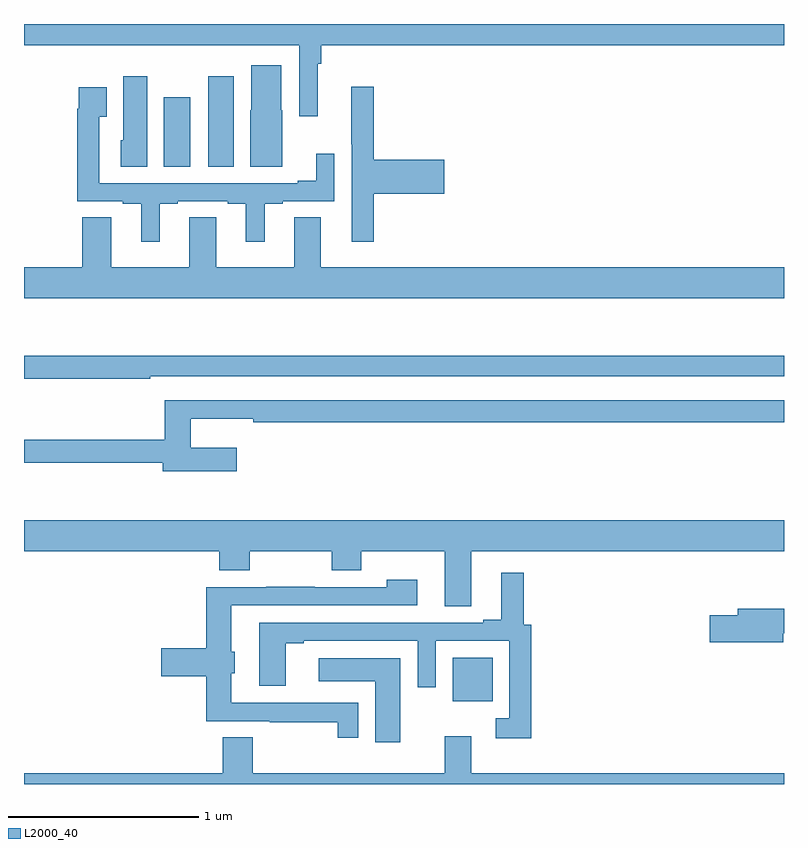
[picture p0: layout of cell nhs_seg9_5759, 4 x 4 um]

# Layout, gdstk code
import gdstk
lib = gdstk.Library(unit=1e-6, precision=1e-09)
def R(c, l, rs):  # rectangles x0, y0, x1, y1
    for r in rs: c.add(gdstk.rectangle(r[:2], r[2:], *l))
def P(c, l, *ps):  # polygons
    for p in ps: c.add(gdstk.Polygon(p, *l))
L2000_40 = (2000, 40)

nhs_seg9_5759 = lib.new_cell('nhs_seg9_5759')
R(nhs_seg9_5759, L2000_40, [(447.257,1224.935,447.466,1225.165), (445.736,1227.748,445.876,1228.114), (445.97,1227.748,446.104,1228.225)])
P(nhs_seg9_5759, L2000_40, [(446.546,1228.292),(446.564,1228.292),(446.564,1228.388),(449,1228.388),(449,1228.5),(445,1228.5),(445,1228.388),(446.448,1228.388),(446.448,1228.014),(446.546,1228.014)],
  [(446.359,1228.047),(446.353,1228.047),(446.353,1228.282),(446.195,1228.282),(446.195,1228.047),(446.192,1228.047),(446.192,1227.748),(446.359,1227.748)],
  [(445.648,1228.225),(445.523,1228.225),(445.523,1227.888),(445.508,1227.888),(445.508,1227.748),(445.648,1227.748)],
  [(446.84,1227.607),(447.211,1227.607),(447.211,1227.785),(446.84,1227.785),(446.84,1228.171),(446.723,1228.171),(446.723,1227.868),(446.724,1227.868),(446.724,1227.354),(446.84,1227.354)],
  [(445.714,1227.555),(445.81,1227.555),(445.81,1227.567),(446.072,1227.567),(446.072,1227.555),(446.168,1227.555),(446.168,1227.354),(446.266,1227.354),(446.266,1227.555),(446.362,1227.555),(446.362,1227.567),(446.634,1227.567),(446.634,1227.817),(446.537,1227.817),(446.537,1227.676),(446.441,1227.676),(446.441,1227.663),(445.395,1227.663),(445.395,1228.012),(445.435,1228.012),(445.435,1228.168),(445.287,1228.168),(445.287,1228.055),(445.279,1228.055),(445.279,1227.567),(445.52,1227.567),(445.52,1227.555),(445.616,1227.555),(445.616,1227.354),(445.714,1227.354)],
  [(449,1227.22),(446.563,1227.22),(446.563,1227.482),(446.423,1227.482),(446.423,1227.22),(446.011,1227.22),(446.011,1227.482),(445.871,1227.482),(445.871,1227.22),(445.459,1227.22),(445.459,1227.482),(445.307,1227.482),(445.307,1227.22),(445,1227.22),(445,1227.056),(449,1227.056)],
  [(445.664,1226.646),(449,1226.646),(449,1226.755),(445,1226.755),(445,1226.634),(445.664,1226.634)],
  [(446.119,1226.269),(445.877,1226.269),(445.877,1226.423),(446.206,1226.423),(446.206,1226.404),(449,1226.404),(449,1226.52),(445.741,1226.52),(445.741,1226.311),(445,1226.311),(445,1226.19),(445.73,1226.19),(445.73,1226.147),(446.119,1226.147)],
  [(447.355,1225.724),(449,1225.724),(449,1225.888),(445,1225.888),(445,1225.724),(446.027,1225.724),(446.027,1225.625),(446.187,1225.625),(446.187,1225.724),(446.62,1225.724),(446.62,1225.625),(446.775,1225.625),(446.775,1225.724),(447.215,1225.724),(447.215,1225.435),(447.355,1225.435)],
  [(447.671,1225.338),(447.631,1225.338),(447.631,1225.612),(447.512,1225.612),(447.512,1225.365),(447.416,1225.365),(447.416,1225.35),(446.237,1225.35),(446.237,1225.017),(446.377,1225.017),(446.377,1225.242),(446.473,1225.242),(446.473,1225.254),(447.072,1225.254),(447.072,1225.008),(447.168,1225.008),(447.168,1225.254),(447.555,1225.254),(447.555,1224.846),(447.483,1224.846),(447.483,1224.741),(447.671,1224.741)],
  [(446.76,1224.927),(446.092,1224.927),(446.092,1225.083),(446.11,1225.083),(446.11,1225.197),(446.092,1225.197),(446.092,1225.44),(447.07,1225.44),(447.07,1225.576),(446.909,1225.576),(446.909,1225.536),(446.531,1225.536),(446.531,1225.538),(446.275,1225.538),(446.275,1225.536),(445.958,1225.536),(445.958,1225.214),(445.722,1225.214),(445.722,1225.067),(445.958,1225.067),(445.958,1224.831),(446.293,1224.831),(446.293,1224.826),(446.652,1224.826),(446.652,1224.744),(446.76,1224.744)],
  [(448.996,1225.294),(449,1225.294),(449,1225.423),(448.757,1225.423),(448.757,1225.389),(448.608,1225.389),(448.608,1225.247),(448.996,1225.247)],
  [(446.98,1225.162),(446.55,1225.162),(446.55,1225.04),(446.849,1225.04),(446.849,1224.72),(446.98,1224.72)],
  [(449,1224.556),(447.355,1224.556),(447.355,1224.751),(447.215,1224.751),(447.215,1224.556),(446.205,1224.556),(446.205,1224.746),(446.045,1224.746),(446.045,1224.556),(445,1224.556),(445,1224.5),(449,1224.5)])

lib.write_gds('nhs_seg9_5759.gds')
